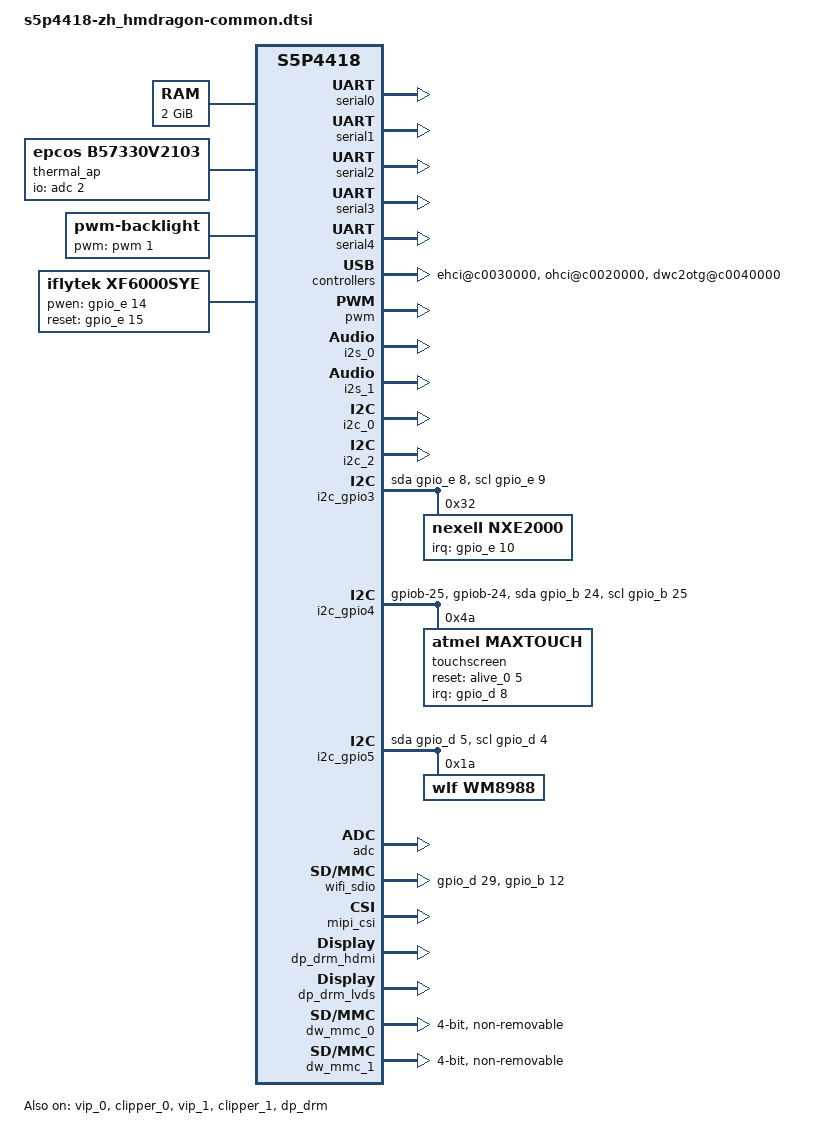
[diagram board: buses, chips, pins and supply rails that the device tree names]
/*
 * Copyright (C) 2018  Nexell Co., Ltd.
 * Author: Jongshin Park <pjsin865@nexell.co.kr>
 *
 * This program is free software; you can redistribute it and/or
 * modify it under the terms of the GNU General Public License
 * as published by the Free Software Foundation; either version 2
 * of the License, or (at your option) any later version.
 *
 * This program is distributed in the hope that it will be useful,
 * but WITHOUT ANY WARRANTY; without even the implied warranty of
 * MERCHANTABILITY or FITNESS FOR A PARTICULAR PURPOSE.  See the
 * GNU General Public License for more details.
 *
 * You should have received a copy of the GNU General Public License
 * along with this program.  If not, see <http://www.gnu.org/licenses/>.
 */

#include <dt-bindings/interrupt-controller/irq.h>
#include <dt-bindings/gpio/gpio.h>
#include <dt-bindings/input/input.h>
#include "nxp4330.dtsi"

/ {
	memory {
		device_type = "memory";
		reg = <0x40000000 0x80000000>;
	};

	psci {
		compatible = "arm,psci-0.2";
		method = "smc";
	};

	aliases {
		i2c3 = &i2c_gpio3;
		i2c4 = &i2c_gpio4;
		i2c5 = &i2c_gpio5;
	};

	nx-v4l2 {
		status = "okay";
	};

	soc {
		#include "s5p4418-pinctrl.dtsi"
		clocks {
			uart0:uart@c00a9000 { clock-frequency = <147500000>; };
			uart1:uart@c00a8000 { clock-frequency = <147500000>; };
			uart2:uart@c00aa000 { clock-frequency = <147500000>; };
			uart3:uart@c00ab000 { clock-frequency = <147500000>; };

			vip0:vip@c00c1000 { clock-frequency = <300000000>; };
			vip1:vip@c00c2000 { src-force = <5>; };

			pwm0:pwm0@c00ba000 {
				clk-input = <I_PLL2>;
				clock-frequency = <10000000>;
			};
			pwm1:pwm1@c00ba000 {
				clk-input = <I_PLL2>;
				clock-frequency = <10000000>;
			};
			pwm2:pwm2@c00be000 {
				clk-input = <I_PLL2>;
				clock-frequency = <10000000>;
			};
			pwm3:pwm3@c00be000 {
				clk-input = <I_PLL2>;
				clock-frequency = <10000000>;
			};

			dummy_clk: dummy_clk {
				#clock-cells = <0>;
				clock-output-names = "dummy_clk";
				compatible = "fixed-clock";
				clock-frequency = <0>;
			};
		};

		pinctrl@C0010000 {
			/delete-node/ spi0_bus;
			/delete-node/ spi1_bus;
			/delete-node/ spi2_bus;
			/delete-node/ serial4_pin;
			/delete-node/ mpegts_cap0_data_clk_parallel;
			/delete-node/ nand_ale;
			/delete-node/ nand_nwe;
			/delete-node/ spdiftx_pin;
			i2s2_bus:i2s2 {
				/delete-node/ i2s2-mclk;
			};

			tp_irq: tp-irq {
				nexell,pins = "gpiod-8";
				nexell,pin-function = <NX_PIN_FUNC0>;
				nexell,pin-pull = <NX_PIN_PULL_UP>;
				nexell,pin-strength = <NX_PIN_STR0>;
			};

			tp_reset: tp-reset {
				nexell,pins = "alive-5";
				nexell,pin-function = <NX_PIN_FUNC0>;
				nexell,pin-pull = <NX_PIN_PULL_UP>;
				nexell,pin-strength = <NX_PIN_STR0>;
			};

			/*
			ap_gsml_pwdn: ap-gsml-pwdn {
				nexell,pins = "gpiob-26";
				nexell,pin-function = <NX_PIN_FUNC1>;
				nexell,pin-pull = <NX_PIN_PULL_UP>;
				nexell,pin-strength = <NX_PIN_STR0>;
			};

			cam_power_en: cam-power-en {
				nexell,pins = "gpiob-27";
				nexell,pin-function = <NX_PIN_FUNC1>;
				nexell,pin-pull = <NX_PIN_PULL_UP>;
				nexell,pin-strength = <NX_PIN_STR0>;
			};
			*/

			tp2825_reset:tp2825_reset {
				nexell,pins = "gpiob-14";
				nexell,pin-function = <2>;
				nexell,pin-pull = <2>;
				nexell,pin-strength = <0>;
			};

			i2c_gpio4_sda: i2c4_sda {
				nexell,pins = "gpiob-24";
				nexell,pin-function = <1>;
				nexell,pin-pull = <1>;
				nexell,pin-strength = <0>;
			};

			i2c_gpio4_scl: i2c4_scl {
				nexell,pins = "gpiob-25";
				nexell,pin-function = <1>;
				nexell,pin-pull = <1>;
				nexell,pin-strength = <0>;
			};

			/*
			i2c_gpio5_sda: i2c5_sda {
				nexell,pins = "gpiod-5";
				nexell,pin-function = <1>;
				nexell,pin-pull = <1>;
				nexell,pin-strength = <0>;
			};

			i2c_gpio5_scl: i2c5_scl {
				nexell,pins = "gpiod-4";
				nexell,pin-function = <1>;
				nexell,pin-pull = <1>;
				nexell,pin-strength = <0>;
			};
			*/
		};

		l2:l2-cache-controller@cf000000 {
			arm,prefetch-offset = <7>;
			prefetch-data = <1>;
			prefetch-instr = <1>;
			arm,tag-latency = <3 4 3>;
			arm,data-latency = <3 4 3>;
		};

		serial0:serial@c00a1000 {
			dmas = <&pl08xdma0 2 0>, <&pl08xdma0 3 0>;
			dma-names = "tx", "rx";
			status ="okay";
		};

		serial1:serial@c00a0000 {
			dmas = <&pl08xdma0 0 0>, <&pl08xdma0 1 0>;
			dma-names = "tx", "rx";
			pinctrl-0 = <&serial1_pin>, <&serial1_flow_cts>,
			    <&serial1_flow_rts>;
			status ="okay";
		};

		serial2:serial@c00a2000 {
			dmas = <&pl08xdma0 4 0>, <&pl08xdma0 5 0>;
			dma-names = "tx", "rx";
			status ="okay";
		};

		serial3:serial@c00a3000 {
			status ="okay";
		};

		serial4:serial@c006d000 {
			status ="okay";
		};

		dynamic-freq@bb000 {
			supply_name = "vdd_core_regulator";
			vdd_core_regulator-supply = <&VCC_DCDC0>;
		};

		amba {
			pl08xdma0:pl08xdma@c0000000 {
				use_isr;

				ch12 {
					slave_wait_flush_dma;
				};

				ch13 {
					slave_wait_flush_dma;
				};

				ch14 {
					slave_wait_flush_dma;
				};

				ch15 {
					slave_wait_flush_dma;
				};
			};

			pl08xdma1:pl08xdma@c0001000 {
				use_isr;

				ch0 {
					slave_wait_flush_dma;
				};

				ch1 {
					slave_wait_flush_dma;
				};
			};
		};

		watchdog@c0019000 {
			status = "okay";
		};

		rtc@c0010c00 {
			status = "okay";
		};

		nexell_usbphy: nexell-usbphy@c0012000 {
			status = "okay";
		};

		ehci@c0030000 {
			status = "okay";
			port@0 {
				status = "okay";
			};
		};

		ohci@c0020000 {
			status = "okay";
			port@0 {
				status = "okay";
			};
		};

		dwc2otg@c0040000 {
			nouse_idcon = <1>;
			status = "okay";
		};

		pwm:pwm@c0018000 {
			clock-names = "timers", "pwm-tclk0", "pwm-tclk1";
			clocks =  <&pclk>, <&pwm0>, <&pwm1>;
			pinctrl-names = "default";
			pinctrl-0 = <&pwm0_pin &pwm1_pin>;
			samsung,pwm-outputs = <0>, <1>;
			status = "okay";
		};

		i2s_0:i2s@c0055000 {
			#sound-dai-cells = <1>;
			master-mode = <1>;
			mclk-in = <0>;
			trans-mode = <0>;
			frame-bit = <32>;
			sample-rate = <44100>;
			pre-supply-mclk = <0>;
			status = "okay";
		};

		i2s_1:i2s@c0056000 {
			#sound-dai-cells = <1>;
			master-mode = <1>;
			mclk-in = <0>;
			trans-mode = <0>;
			frame-bit = <32>;
			sample-rate = <44100>;
			pre-supply-mclk = <0>;
			status = "okay";
		};

		/*
		i2s_2:i2s@c0057000 {
			#sound-dai-cells = <1>;
			master-mode = <0>;
			mclk-in = <0>;
			trans-mode = <0>;
			frame-bit = <32>;
			sample-rate = <48000>;
			pre-supply-mclk = <0>;
			status = "okay";
		};
		*/

		i2c_0:i2c@c00a4000 {
			#address-cells = <1>;
			#size-cells = <0>;
			status = "okay";
		};

		/*
		i2c_1:i2c@c00a5000 {
			#address-cells = <1>;
			#size-cells = <0>;
			status = "okay";

			wm8988: wm8988@1a {
				#sound-dai-cells = <0>;
				compatible = "wlf,wm8988";
				reg = <0x1a>;
				clocks = <&dummy_clk>;
				clock-names = "mclk";
			};
		};
		*/

		i2c_2:i2c@c00a6000 {
			#address-cells = <1>;
			#size-cells = <0>;
			status = "ok";
		};

		i2c_gpio3: i2c@3 {
			status = "okay";
		};

		i2c_gpio4: i2c@4 {
			compatible = "i2c-gpio";
			gpios = <&gpio_b 24 0		/* SDA */
					&gpio_b 25 0		/* SCL */
					>;

			pinctrl-names = "default";
			pinctrl-0 = <&i2c_gpio4_scl &i2c_gpio4_sda >;

			#address-cells = <1>;
			#size-cells = <0>;
			status = "okay";
		};

		i2c_gpio5: i2c@5 {
			#address-cells = <1>;
			#size-cells = <0>;
			status = "okay";

			/*
			pinctrl-names = "default";
			pinctrl-0 = <&i2c_gpio5_scl &i2c_gpio5_sda >;
			*/

			compatible = "i2c-gpio";
			gpios = < &gpio_d 5 0 /*sda*/
				&gpio_d 4 0    /*scl*/
				>;
			rate = <400000>;

			wm8988: wm8988@1a {
				#sound-dai-cells = <0>;
				compatible = "wlf,wm8988";
				reg = <0x1a>;
				clocks = <&dummy_clk>;
				clock-names = "mclk";
			};
		};

		adc:adc@c0053000 {
			status = "okay";
		};

		scaler@c0066000 {
			status = "okay";
		};

		wifi_sdio {
			compatible = "android,bcm_wlan";
			gpios = <&gpio_d 29 0 &gpio_b 12 0>;
			bcmdhd_wlan_en = <&gpio_d 29 0x0>;
			bcmdhd_wlan_irq = <&gpio_b 12 0x0>;
		};
	};	/*** soc ***/

	thermal_ap:thermal {
		#thermal-sensor-cells = <0>;
		compatible =  "epcos,b57330v2103";
		pullup-uv = <1800000>;   /* VCC_1.8V_AP */
		pullup-ohm = <4700>;   /* 100K */
		pulldown-ohm = <0>; /* 100K */
		io-channels = <&adc 2>;  /* AP temperature */
		compensation = <17000>; /* Compensation temp */
	};

	thermal-zones {
		cpu0_thermal: cpu0-thermal {
			thermal-sensors = <&thermal_ap>;
			polling-delay-passive = <1000>;
			polling-delay = <1000>;
			trips {
				cpu_alert0: cpu-alert-0 {
					temperature = <70000>;
					hysteresis = <100000>;
					type = "active";
				};
				cpu_alert1: cpu-alert-1 {
					temperature = <85000>;
					hysteresis = <100000>;
					type = "passive";
				};
				cpu-crit-0 {
					temperature = <115000>;
					hysteresis = <100000>;
					type = "critical";
				};
			};

			cooling-maps {
				map0 {
					trip = <&cpu_alert0>;
					cooling-device = <&cpu0 2 2>;
				};
				map1 {
					trip = <&cpu_alert1>;
					cooling-device = <&cpu0 6 6>;
				};
			};
		};
	};

	nexell-ion@0 {
		compatible = "nexell,ion";

		heap_sys_user@0 {
			heap-type = "ion_system";
		};

		heap_sys_contig@0 {
			heap-type = "ion_system_contig";
		};

		heap_dma@0 {
			heap-type = "ion_dma";
		};
	};

	backlight: pwm-backlight {
		compatible = "pwm-backlight";
		pwm-names = "pwm-backlight";
		pwms = <&pwm 1 50000 0>;
		brightness-levels = <
			0 1 2 3 4 5 6 7 8 9
			10 11 12 13 14 15 16 17 18 19
			20 21 22 23 24 25 26 27 28 29
			30 31 32 33 34 35 36 37 38 39
			40 41 42 43 44 45 46 47 48 49
			50 51 52 53 54 55 56 57 58 59
			60 61 62 63 64 65 66 67 68 69
			70 71 72 73 74 75 76 77 78 79
			80 81 82 83 84 85 86 87 88 89
			90 91 92 93 94 95 96 97 98 99
			100 101 102 103 104 105 106 107 108 109
			110 111 112 113 114 115 116 117 118 119
			120 121 122 123 124 125 126 127 128 129
			130 131 132 133 134 135 136 137 138 139
			140 141 142 143 144 145 146 147 148 149
			150 151 152 153 154 155 156 157 158 159
			160 161 162 163 164 165 166 167 168 169
			170 171 172 173 174 175 176 177 178 179
			180 181 182 183 184 185 186 187 188 189
			190 191 192 193 194 195 196 197 198 199
			200 201 202 203 204 205 206 207 208 209
			210 211 212 213 214 215 216 217 218 219
			220 221 222 223 224 225 226 227 228 229
			230 231 232 233 234 235 236 237 238 239
			240 241 242 243 244 245 246 247 248 249
			250 251 252 253 254 255
			>;
		default-brightness-level = <200>;
		status = "okay";
	};

	snd_null: snd_null@0 {
		#sound-dai-cells = <0>;
		compatible = "nexell,snd-null";
		#address-cells = <1>;
		#size-cells = <0>;
		reg = <0 0>;
	};

	sound {
		compatible = "nexell,simple-audio-card";
		simple-audio-card,name = "s5p4418 ZH hmdragon Audio";

		simple-audio-card,widgets =
		    "Headphone", "Out Jack";
		simple-audio-card,routing =
		    "Out Jack", "LOUT2",
		    "Out Jack", "ROUT2";

		status = "okay";
		simple-audio-card,dai-link@0 {
			format = "i2s";
			cpu {
				sound-dai = <&i2s_0 0>;
			};
			codec {
				sound-dai = <&snd_null>;
			};
		};
		simple-audio-card,dai-link@1 {
			format = "i2s";
			cpu {
				sound-dai = <&i2s_1 0>;
			};
			codec {
				sound-dai = <&wm8988>;
			};
		};
		/*
		simple-audio-card,dai-link@2 {
			format = "i2s";
			cpu {
				sound-dai = <&i2s_2 0>;
			};
			codec {
				sound-dai = <&snd_null>;
			};
		};
		*/
	}; /* sound */

	xf6000sye {
		compatible= "iflytek,xf6000sye";
		status = "okay";
		i2c_adapter = <0>;
		pwen-gpio = <&gpio_e 14 GPIO_ACTIVE_HIGH>;
		reset-gpio = <&gpio_e 15 GPIO_ACTIVE_HIGH>;
	};

	/*
	adv7613 {
		compatible= "ad,adv7613";
		status = "okay";
		i2c_adapter = <4>;
	};
	*/
};

&vip_0 {
	status = "okay";
};

&mipi_csi {
	data_lane = <4>;
	pllval = <750>;
	hssettle = <8>;
	interrupts = <IRQ_MIPI>;
	status = "okay";
};

&clipper_0 {
	/*
	pinctrl-names = "default";
	pinctrl-0 = <&ap_gsml_pwdn &cam_power_en>;
	gpios = <&gpio_b 26 0 &gpio_b 27 0>;
	*/
	interface_type = <NX_CAPTURE_INTERFACE_MIPI_CSI>;
	data_order = <NX_VIN_CBY0CRY1>;
	interlace = <0>;
	status = "okay";
	external_sync = <1>;
	h_frontporch = <7>;
	h_syncwidth = <0>;
	h_backporch = <7>;
	v_frontporch = <0>;
	v_syncwidth = <0>;
	v_backporch = <1>;

	sensor {
		type = <NX_CAPTURE_SENSOR_I2C>;
		i2c_name = "max9286";
		i2c_adapter = <4>;
		addr = <0x48>;
	};

	/* move ap_gsml_pwdn and cam_power_en to bl1
	power {
		enable_seq = <
		NX_ACTION_START NX_ACTION_TYPE_GPIO 0 1 1 NX_ACTION_END
		NX_ACTION_START NX_ACTION_TYPE_GPIO 1 1 1 NX_ACTION_END
		>;

		disable_seq = <
		NX_ACTION_START NX_ACTION_TYPE_GPIO 1 1 1 NX_ACTION_END
		NX_ACTION_START NX_ACTION_TYPE_GPIO 0 1 1 NX_ACTION_END
		>;
	};
	*/
};

&vip_1 {
	status = "okay";
};

&clipper_1 {
	status = "okay";
	pinctrl-names = "default";
	pinctrl-0 = <&vid2_data_clk &tp2825_reset>;
	gpios = <&gpio_b 14 0>;

	interface_type = <NX_CAPTURE_INTERFACE_PARALLEL>;
	data_order = <NX_VIN_CBY0CRY1>;
	port = <1>;
	external_sync = <0>;
	interlace = <0>;

	sensor {
		type = <NX_CAPTURE_SENSOR_I2C>;
		i2c_name = "tp2825";
		i2c_adapter = <5>;
		addr = <0x44>;
		/* gpio_reset = <&gpio_b 14 0>; */
		out_port = <2>; /* 1: VD1, 2: VD2 */
		vdelay = <0>; /* 0: default */
	};

	power {
		enable_seq = <
			NX_ACTION_START NX_ACTION_TYPE_GPIO 0 1 20 NX_ACTION_END
		>;

		disable_seq = <
			NX_ACTION_START NX_ACTION_TYPE_GPIO 0 0 10 NX_ACTION_END
		>;
	};
};

&dp_drm {
	status = "okay";
	ports {
		port@0 {
			reg = <0>;
			back_color = < 0x0 >;
			color_key = < 0x0 >;
			plane-names = "rgb", "primary", "video";
		};
		port@1 {
			reg = <1>;
			back_color = < 0x0 >;
			color_key = < 0x0 >;
			plane-names = "primary", "video";
		};
	};
};

&dp_drm_hdmi {
	ddc-i2c-bus = <&i2c_gpio4>;
	status = "ok";
	mode {
		width = <1920>;
		height = <720>;
		refresh	= <60>;
		prefered = <1>;
		flags = <0>;
	};
};

#if 1
&dp_drm_lvds {
	status = "ok";

	display-timing {
		clock-frequency = <50000000>;
		hactive = <1920>;
		vactive = <720>;
		hfront-porch = <160>;
		hback-porch = <140>;
		hsync-len = <20>;
		vfront-porch = <12>;
		vback-porch = <20>;
		vsync-len = <3>;
	};

	dp_control {
		clk_src_lv0 = <0>;
		clk_div_lv0 = <16>;
		clk_src_lv1 = <7>;
		clk_div_lv1 = <1>;
		out_format = <2>;
	};
};
#endif

&i2c_gpio4 {
	#address-cells = <1>;
	#size-cells = <0>;
	status = "okay";
	rate = <400000>;
	touchscreen@4a {
		compatible = "atmel,maxtouch";
		reg = <0x4a>;
		interrupt-parent = <&gpio_d>;
		interrupts = <8 IRQ_TYPE_LEVEL_LOW>;
		pinctrl-names = "default";
		pinctrl-0 = <&tp_irq &tp_reset>;
		skip-cfg-load;
		atmel,reset-gpio = <&alive_0 5 0>;
		linux,gpio-keymap = <
			KEY_MUTE KEY_HOME KEY_HOMEPAGE KEY_UP KEY_DOWN
			KEY_BACK KEY_VOLUMEUP KEY_VOLUMEDOWN KEY_POWER
			>;
	};
};

/*
&dw_mmc_0 {
	num-slots = <1>;
	bus-width = <4>;
	cap-mmc-highspeed;
	broken-cd;
	non-removable;
	clock-frequency = <100000000>;
	card-detect-delay = <200>;
	disable-wp;
	overclock;
	nexell,drive_dly = <0x0>;
	nexell,drive_shift = <0x02>;
	nexell,sample_dly = <0x00>;
	nexell,sample_shift = <0x01>;
	status = "okay";
};
*/

&dw_mmc_0 {
    num-slots = <1>;
    bus-width = <4>;
    cap-mmc-highspeed;
    broken-cd;
    non-removable;
    clock-frequency = <100000000>;
    card-detect-delay = <10>;
    disable-wp;
    overclock;
    nexell,drive_dly = <0x00>;
    nexell,drive_shift = <0x02>;
    nexell,sample_dly = <0x00>;
    nexell,sample_shift = <0x01>;
    status = "okay";
};

&dw_mmc_1 {
	compatible = "nexell,s5p6818-dw-mshc-sdio1";
	num-slots = <1>;
	bus-width = <4>;
	cap-mmc-highspeed;
	broken-cd;
	non-removable;
	clock-frequency = <50000000>;
	card-detect-delay = <200>;
	disable-wp;
	nexell,drive_dly = <0x0>;
	nexell,drive_shift = <0x02>;
	nexell,sample_dly = <0x00>;
	nexell,sample_shift = <0x01>;
	status = "okay";
};

#define PMIC_PDATA_INIT(_id, _rname, _minuv,	\
			_maxuv, _init_uv, _init_enable,		\
			_set_init_uV, _slp_slots)	\
		regulator-name = _rname;		\
		regulator-min-microvolt = <_minuv>;	\
		regulator-max-microvolt = <_maxuv>;	\
		nx,id = <_id>;				\
		nx,init_enable = <_init_enable>;	\
		nx,init_uV = <_init_uv>;		\
		nx,set_init_uV = <_set_init_uV>;	\
		nx,sleep_slots = <_slp_slots>;

&i2c_gpio3 {
	compatible = "i2c-gpio";
	gpios = <&gpio_e 8 0		/* SDA */
			&gpio_e 9 0		/* SCL */
			>;
	#address-cells = <1>;
	#size-cells = <0>;
	status = "okay";

	nxe2000@32 {
		compatible = "nexell,nxe2000";
		reg = <0x32>;
		interrupt-parent = <&gpio_e>;
		interrupts = <10 IRQ_TYPE_EDGE_FALLING>;

		regulators {
			VCC_DCDC0:
				dcdc1	{ PMIC_PDATA_INIT( 0,
					"nxe2000_dcdc1",
					900000, 1500000,
					1100000, 1, 0, 0x4)
					regulator-always-on;
					regulator-boot-on;};
			VCC_DCDC1:
				dcdc2	{ PMIC_PDATA_INIT( 1,
					"nxe2000_dcdc2",
					1000000, 1500000,
					1200000, 1, 0, 0x4)
					regulator-always-on;
					regulator-boot-on;};
			VCC_DCDC2:
				dcdc3	{ PMIC_PDATA_INIT( 2,
					"nxe2000_dcdc3",
					1000000, 3500000,
					3300000, 1, 1, 0x0)
					regulator-always-on;
					regulator-boot-on;};
			VCC_DCDC3:
				dcdc4	{ PMIC_PDATA_INIT( 3,
					"nxe2000_dcdc4",
					1000000, 2000000,
					1500000, 1, 0, 0xF)
					regulator-always-on;
					regulator-boot-on;};
			VCC_DCDC4:
				dcdc5	{ PMIC_PDATA_INIT( 4,
					"nxe2000_dcdc5",
					1000000, 2000000,
					1500000, 1, 0, 0x4)
					regulator-always-on;
					regulator-boot-on;};
			VCC_LDO0:
				ldo1	{ PMIC_PDATA_INIT( 5,
					"nxe2000_ldo1",
					1000000, 3500000,
					3300000, 0, 1, 0x0)
					regulator-boot-on;};
			VCC_LDO1:
				ldo2	{ PMIC_PDATA_INIT( 6,
					"nxe2000_ldo2",
					1000000, 3500000,
					3300000, 0, 1, 0x0)
					regulator-boot-on;};
			VCC_LDO2:
				ldo3	{ PMIC_PDATA_INIT( 7,
					"nxe2000_ldo3",
					1000000, 3500000,
					1800000, 1, 1, 0x2)
					regulator-always-on;
					regulator-boot-on;};
			VCC_LDO3:
				ldo4	{ PMIC_PDATA_INIT( 8,
					"nxe2000_ldo4",
					1000000, 3500000,
					1800000, 1, 1, 0x2)
					regulator-always-on;
					regulator-boot-on;};
			VCC_LDO4:
				ldo5	{ PMIC_PDATA_INIT( 9,
					"nxe2000_ldo5",
					1000000, 3500000,
					3300000, 0, 1, 0x0)
					regulator-boot-on;};
			VCC_LDO5:
				ldo6	{ PMIC_PDATA_INIT(10,
					"nxe2000_ldo6",
					1000000, 3500000,
					3300000, 1, 1, 0xF)
					regulator-always-on;
					regulator-boot-on;};
			VCC_LDO6:
				ldo7	{ PMIC_PDATA_INIT(11,
					"nxe2000_ldo7",
					1000000, 3500000,
					3300000, 1, 1, 0x1)
					regulator-always-on;
					regulator-boot-on;};
			VCC_LDO7:
				ldo8	{ PMIC_PDATA_INIT(12,
					"nxe2000_ldo8",
					1000000, 3500000,
					3300000, 0, 1, 0x0)
					regulator-boot-on;};
			VCC_LDO8:
				ldo9	{ PMIC_PDATA_INIT(13,
					"nxe2000_ldo9",
					1000000, 3500000,
					1800000, 0, 1, 0x0)
					regulator-boot-on;};
			VCC_LDO9:
				ldo10	{ PMIC_PDATA_INIT(14,
					"nxe2000_ldo10",
					1000000, 3500000,
					1200000, 1, 1, 0x0)
					regulator-always-on;
					regulator-boot-on;};
			VCC_RTC0:
				ldortc1	{ PMIC_PDATA_INIT(15,
					"nxe2000_rtc1",
					1700000, 3500000,
					1800000, 1, 1, 0xF)
					regulator-always-on;
					regulator-boot-on;};
			VCC_RTC1:
				ldortc2	{ PMIC_PDATA_INIT(16,
					"nxe2000_rtc2",
					1000000, 3500000,
					1000000, 1, 1, 0xF)
					regulator-always-on;
					regulator-boot-on;};
		}; /* regulators */
	}; /* nxe2000@32 */
}; /* i2c_gpio3 */

